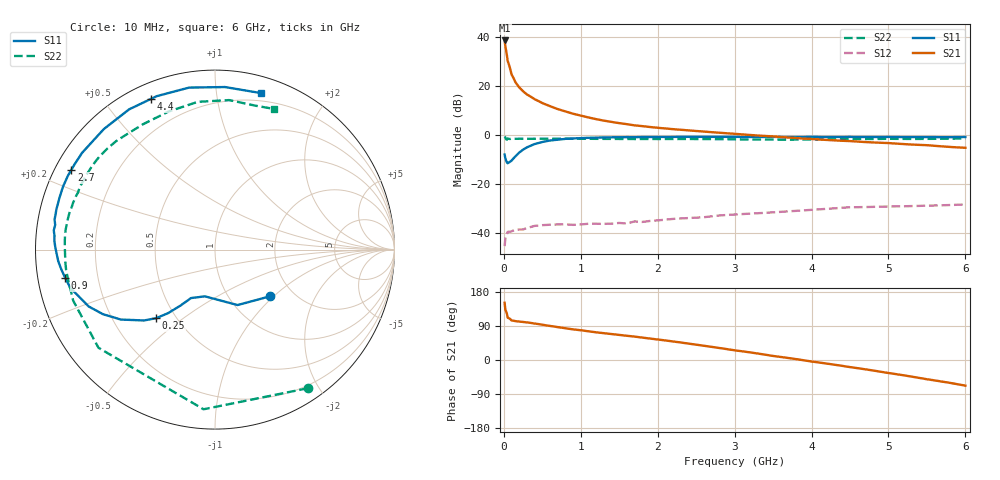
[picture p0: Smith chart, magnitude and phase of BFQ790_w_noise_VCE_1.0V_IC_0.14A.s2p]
! (c) 2015  Infineon Technologies AG, Munich
! Infineon Technologies  Discrete & RF Semiconductors
! BFQ790
! VCE =  1.0 V,  IC = 0.14 A
! Common Emitter S-Parameters:  May 2015
# GHz  S  MA  R  50
!  f  S11  S21  S12  S22
! GHz  MAG  ANG  MAG  ANG  MAG  ANG  MAG  ANG
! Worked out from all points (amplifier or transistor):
!   77 points, 10 MHz to 6 GHz, reference 50 ohm
!   highest |S21| = 38.4 dB at 10 MHz (marker M1)
!   |S21| within 3 dB of that: start of sweep to 23.47 MHz
!   unconditionally stable (mu >= 1): 227.2 MHz to 468.1 MHz; 646 MHz to 752.9 MHz; 850 MHz to end of sweep
!   at 130 MHz: K = 0.71, MSG = 30.8 dB, |S12| = -38.8 dB
!   at 2.2 GHz: K = 1.25, MAG = 15.2 dB, |S12| = -34.1 dB
!   at 6 GHz: K = 1.24, MAG = 8.6 dB, |S12| = -28.2 dB
!   lowest NFmin = 2.89 dB at 1.5 GHz
!   S11 on the Smith chart (normalised r, x): 10 MHz: 1.52, -0.95; 250 MHz: 0.39, -0.40; 900 MHz: 0.08, -0.09; 2.7 GHz: 0.05, +0.26; 4.4 GHz: 0.07, +0.66; 6 GHz: 0.13, +1.33
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0.01  0.4008 -40.6  83.29 151.0  0.0055 60.8  0.9296 -56.2
0.02  0.3336 -67.8  63 132.1  0.0079 40.5  0.8919 -94.1
0.05  0.2666 -102.3  31.79 111.7  0.0107 22.1  0.8489 -139.9
0.1  0.3012 -116.3  16.99 104.4  0.011 16.2  0.8397 -160.2
0.15  0.3669 -121.7  11.85 102.6  0.0119 15.8  0.8358 -168.1
0.2  0.4395 -126.4  9.275 101.4  0.012 18.1  0.8371 -172.3
0.25  0.5031 -130.6  7.729 100.4  0.012 14.7  0.8367 -175.2
0.3  0.5596 -135.1  6.66 99.2  0.0129 11.7  0.8358 -177.4
0.4  0.6537 -143.4  5.33 96.2  0.0142 11.8  0.837 179.1
0.5  0.7202 -150.0  4.454 93.1  0.0147 10.0  0.8381 176.6
0.6  0.7721 -155.8  3.844 89.9  0.015 10.5  0.8397 174.3
0.7  0.8022 -161.0  3.36 86.8  0.0152 12.8  0.8396 172.4
0.9  0.8492 -169.3  2.702 80.8  0.0149 7.0  0.8376 169.0
1.1  0.8758 -175.8  2.269 75.7  0.0157 9.1  0.836 165.8
1.5  0.8978 175.0  1.74 66.2  0.0163 9.3  0.83 160.2
2.1  0.912 163.6  1.355 51.6  0.019 9.8  0.8277 151.2
2.7  0.9155 151.0  1.14 34.7  0.0222 4.7  0.8239 139.0
3.1  0.9127 141.7  1.027 22.9  0.0247 0.2  0.8123 129.7
4.1  0.9134 119.4  0.809 -6.7  0.0308 -14.5  0.8123 106.1
4.4  0.9123 112.9  0.762 -15.5  0.0332 -20.3  0.8227 98.9
5.1  0.9093 96.6  0.668 -37.3  0.0354 -35.0  0.8338 82.6
6  0.9087 73.7  0.549 -67.7  0.0387 -55.0  0.8492 67.4
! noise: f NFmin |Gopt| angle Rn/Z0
0.45  4.62  0.43  137  0.45
0.9  3.28  0.56  166  0.15
1.5  2.89  0.67  -174  0.09
1.8  2.97  0.69  -168  0.09
2.6  3.31  0.73  -152  0.22
3.5  3.87  0.83  -136  0.52
